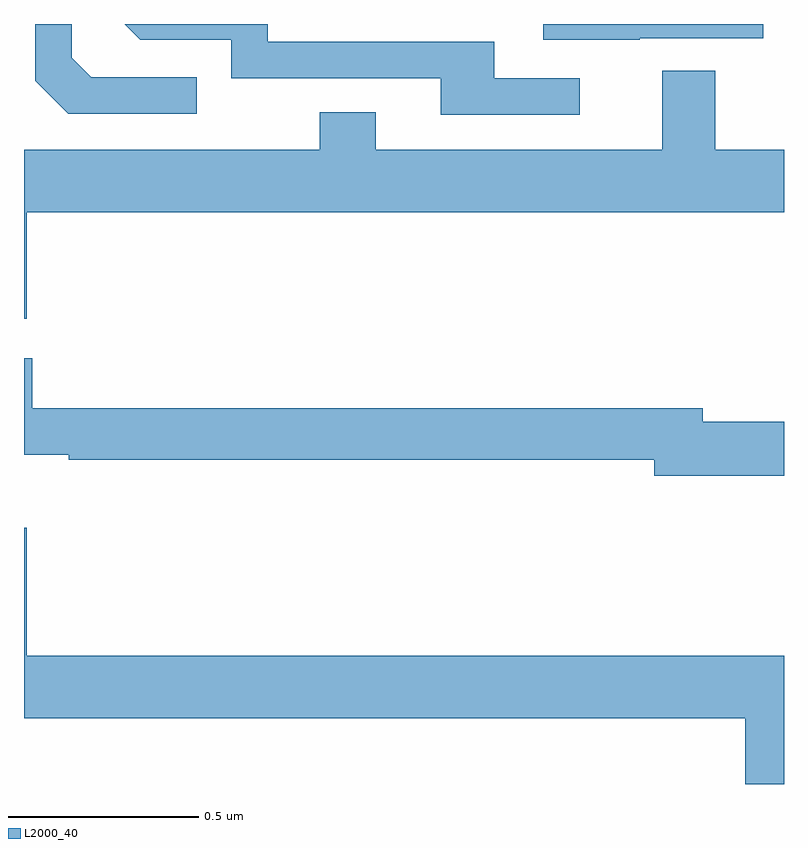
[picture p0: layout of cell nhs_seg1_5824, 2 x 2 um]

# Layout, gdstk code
import gdstk
lib = gdstk.Library(unit=1e-6, precision=1e-09)
def P(c, l, *ps):  # polygons
    for p in ps: c.add(gdstk.Polygon(p, *l))
L2000_40 = (2000, 40)

nhs_seg1_5824 = lib.new_cell('nhs_seg1_5824')
P(nhs_seg1_5824, L2000_40, [(184.621,580.161),(184.945,580.161),(184.945,580.199),(184.367,580.199),(184.367,580.157),(184.621,580.157)],
  [(184.462,580.056),(184.237,580.056),(184.237,580.152),(183.642,580.152),(183.642,580.199),(183.265,580.199),(183.306,580.158),(183.546,580.158),(183.546,580.056),(184.097,580.056),(184.097,579.96),(184.462,579.96)],
  [(183.454,580.059),(183.177,580.059),(183.126,580.11),(183.126,580.199),(183.03,580.199),(183.03,580.05),(183.117,579.963),(183.454,579.963)],
  [(183.007,579.704),(185,579.704),(185,579.868),(184.819,579.868),(184.819,580.076),(184.679,580.076),(184.679,579.868),(183.925,579.868),(183.925,579.967),(183.778,579.967),(183.778,579.868),(183,579.868),(183,579.423),(183.007,579.423)],
  [(185,579.152),(184.786,579.152),(184.786,579.188),(183.022,579.188),(183.022,579.319),(183,579.319),(183,579.065),(183.118,579.065),(183.118,579.052),(184.658,579.052),(184.658,579.01),(185,579.01)],
  [(185,578.536),(183.007,578.536),(183.007,578.873),(183,578.873),(183,578.372),(184.898,578.372),(184.898,578.199),(185,578.199)])

lib.write_gds('nhs_seg1_5824.gds')
